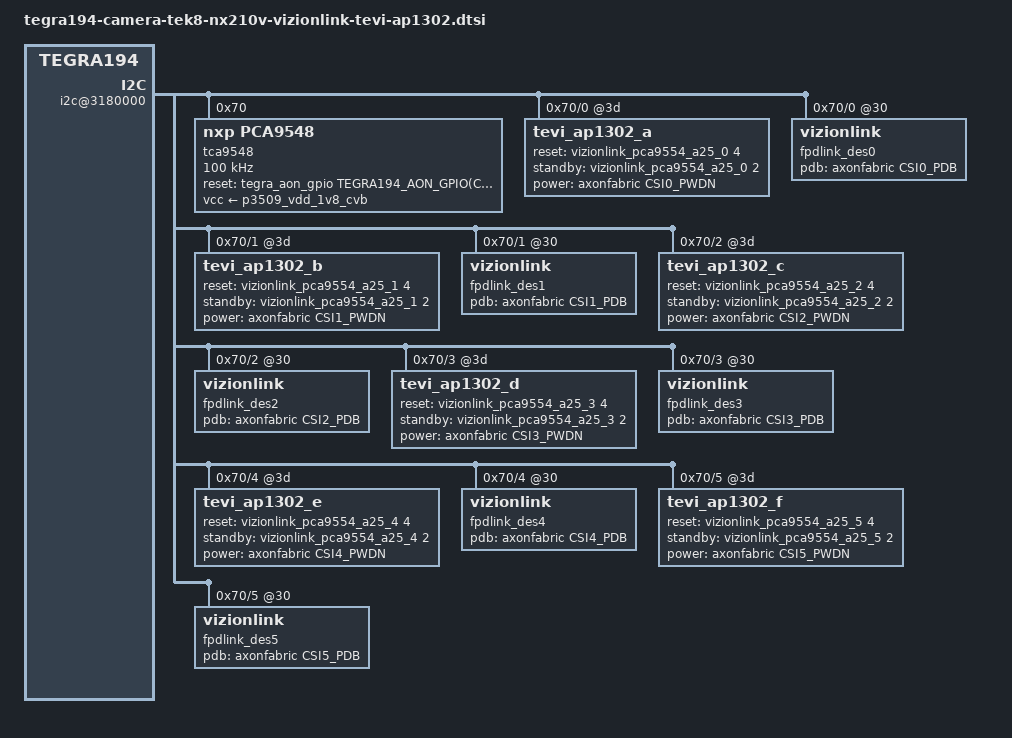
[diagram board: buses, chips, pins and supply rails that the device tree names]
/*
 * Copyright (c) 2021, NVIDIA CORPORATION.  All rights reserved.
 *
 * This program is free software; you can redistribute it and/or modify
 * it under the terms of the GNU General Public License as published by
 * the Free Software Foundation; either version 2 of the License, or
 * (at your option) any later version.
 *
 * This program is distributed in the hope that it will be useful, but WITHOUT
 * ANY WARRANTY; without even the implied warranty of MERCHANTABILITY or
 * FITNESS FOR A PARTICULAR PURPOSE.  See the GNU General Public License for
 * more details.
 *
 * You should have received a copy of the GNU General Public License
 * along with this program.  If not, see <http://www.gnu.org/licenses/>.
 */

#include "tegra194-camera-tek8-vizionlink-tevi-ap1302.dtsi"

//Define GPIO number for axonfabric
#define CSI0_RST_N	80
#define CSI0_PWDN	81
#define CSI0_PDB	82
#define CSI1_RST_N	84
#define CSI1_PWDN	85
#define CSI1_PDB	86
#define CSI2_RST_N	88
#define CSI2_PWDN	89
#define CSI2_PDB	90
#define CSI3_RST_N	92
#define CSI3_PWDN	93
#define CSI3_PDB	94
#define CSI4_RST_N	96
#define CSI4_PWDN	97
#define CSI4_PDB	98
#define CSI5_RST_N	100
#define CSI5_PWDN	101
#define CSI5_PDB	102

#define CAMERA_I2C_MUX_BUS(x) (0x1E + x)

/ {
	i2c@3180000 { /* cam_i2c */
		tca9548@70 {
			clock-frequency = <100000>;
			compatible = "nxp,pca9548";
			reg = <0x70>;
			#address-cells = <1>;
			#size-cells = <0>;
			reset-gpios = <&tegra_aon_gpio TEGRA194_AON_GPIO(CC, 3) GPIO_ACTIVE_LOW>;
			skip_mux_detect = "yes";
			vcc-supply = <&p3509_vdd_1v8_cvb>;
			vcc_lp = "vcc";
			force_bus_start = <CAMERA_I2C_MUX_BUS(0)>;

			i2c@0 {
				reg = <0>;
				i2c-mux,deselect-on-exit;
				#address-cells = <1>;
				#size-cells = <0>;

				tevi_ap1302_a@3d {
					reset-gpios = <&vizionlink_pca9554_a25_0 4 GPIO_ACTIVE_HIGH>;
					standby-gpios = <&vizionlink_pca9554_a25_0 2 GPIO_ACTIVE_HIGH>;
					power-gpios = <&axonfabric CSI0_PWDN GPIO_ACTIVE_HIGH>;
					nvmem = <&tevi_ap1302_otp_0>;
					nvmem-names = "calib-data";
					data-lanes = <2>;
					//status = "disabled";

					//nvidia,fpdlink-dser-device = <&fpdlink_des0>;
					//vc_port = <0>;
				};

				fpdlink_des0: vizionlink@30 {
					pdb-gpios= <&axonfabric CSI0_PDB GPIO_ACTIVE_HIGH>;
					//port = <0>;
				};

			};
			i2c@1 {
				reg = <1>;
				i2c-mux,deselect-on-exit;
				#address-cells = <1>;
				#size-cells = <0>;
				tevi_ap1302_b@3d {
					reset-gpios = <&vizionlink_pca9554_a25_1 4 GPIO_ACTIVE_HIGH>;
					standby-gpios = <&vizionlink_pca9554_a25_1 2 GPIO_ACTIVE_HIGH>;
					power-gpios = <&axonfabric CSI1_PWDN GPIO_ACTIVE_HIGH>;
					nvmem = <&tevi_ap1302_otp_1>;
					nvmem-names = "calib-data";
					data-lanes = <2>;
					//status = "disabled";

					// nvidia,fpdlink-dser-device = <&fpdlink_des1>;
					// vc_port = <1>;
				};

				fpdlink_des1: vizionlink@30 {
					pdb-gpios= <&axonfabric CSI1_PDB GPIO_ACTIVE_HIGH>;
					//port = <0>;
				};
			};
			i2c@2 {
				reg = <2>;
				i2c-mux,deselect-on-exit;
				#address-cells = <1>;
				#size-cells = <0>;
				tevi_ap1302_c@3d {
					reset-gpios = <&vizionlink_pca9554_a25_2 4 GPIO_ACTIVE_HIGH>;
					standby-gpios = <&vizionlink_pca9554_a25_2 2 GPIO_ACTIVE_HIGH>;
					power-gpios = <&axonfabric CSI2_PWDN GPIO_ACTIVE_HIGH>;
					nvmem = <&tevi_ap1302_otp_2>;
					nvmem-names = "calib-data";
					data-lanes = <2>;
					//status = "disabled";

					// nvidia,fpdlink-dser-device = <&fpdlink_des2>;
					// vc_port = <2>;
				};

				fpdlink_des2: vizionlink@30 {
					pdb-gpios= <&axonfabric CSI2_PDB GPIO_ACTIVE_HIGH>;
					//port = <0>;
				};
			};
			i2c@3{
				reg = <3>;
				i2c-mux,deselect-on-exit;
				#address-cells = <1>;
				#size-cells = <0>;
				tevi_ap1302_d@3d {
					reset-gpios = <&vizionlink_pca9554_a25_3 4 GPIO_ACTIVE_HIGH>;
					standby-gpios = <&vizionlink_pca9554_a25_3 2 GPIO_ACTIVE_HIGH>;
					power-gpios = <&axonfabric CSI3_PWDN GPIO_ACTIVE_HIGH>;
					nvmem = <&tevi_ap1302_otp_3>;
					nvmem-names = "calib-data";
					data-lanes = <2>;
					//status = "disabled";

					// nvidia,fpdlink-dser-device = <&fpdlink_des3>;
					// vc_port = <3>;
				};
				fpdlink_des3: vizionlink@30 {
					pdb-gpios= <&axonfabric CSI3_PDB GPIO_ACTIVE_HIGH>;
					//port = <0>;
				};
			};
			i2c@4{
				reg = <4>;
				i2c-mux,deselect-on-exit;
				#address-cells = <1>;
				#size-cells = <0>;
				tevi_ap1302_e@3d {
					reset-gpios = <&vizionlink_pca9554_a25_4 4 GPIO_ACTIVE_HIGH>;
					standby-gpios = <&vizionlink_pca9554_a25_4 2 GPIO_ACTIVE_HIGH>;
					power-gpios = <&axonfabric CSI4_PWDN GPIO_ACTIVE_HIGH>;
					nvmem = <&tevi_ap1302_otp_4>;
					nvmem-names = "calib-data";
					data-lanes = <2>;
					//status = "disabled";

					// nvidia,fpdlink-dser-device = <&fpdlink_des4>;
					// vc_port = <4>;
				};
				fpdlink_des4: vizionlink@30 {
					pdb-gpios= <&axonfabric CSI4_PDB GPIO_ACTIVE_HIGH>;
					//port = <0>;
				};
			};
			i2c@5{
				reg = <5>;
				i2c-mux,deselect-on-exit;
				#address-cells = <1>;
				#size-cells = <0>;
				tevi_ap1302_f@3d {
					reset-gpios = <&vizionlink_pca9554_a25_5 4 GPIO_ACTIVE_HIGH>;
					standby-gpios = <&vizionlink_pca9554_a25_5 2 GPIO_ACTIVE_HIGH>;
					power-gpios = <&axonfabric CSI5_PWDN GPIO_ACTIVE_HIGH>;
					nvmem = <&tevi_ap1302_otp_5>;
					nvmem-names = "calib-data";
					data-lanes = <2>;
					//status = "disabled";

					// nvidia,fpdlink-dser-device = <&fpdlink_des5;
					// vc_port = <5>;
				};
				fpdlink_des5: vizionlink@30 {
					pdb-gpios= <&axonfabric CSI5_PDB GPIO_ACTIVE_HIGH>;
					//port = <0>;
				};
			};
		};
	};
/*
	gpio@2200000 {
		camera-control-output-low {
			gpio-hog;
			output-low;
			gpios = <CAM0_PWDN 0 CAM1_PWDN 0>;
			label = "cam0-pwdn","cam1-pwdn";
		};
	};
*/
};
